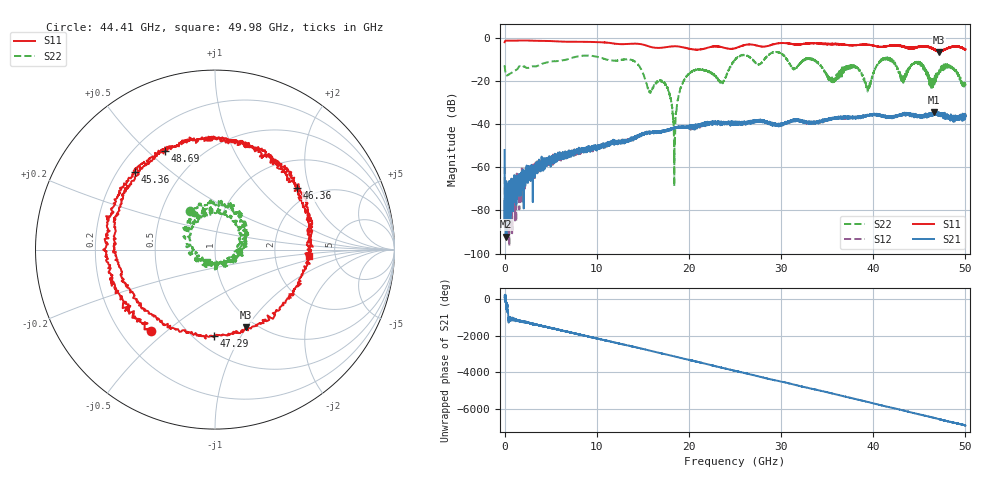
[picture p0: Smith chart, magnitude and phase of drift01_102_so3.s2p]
!Created with skrf (http://scikit-rf.org).
# Hz S RI R 50.0
!freq ReS11 ImS11 ReS21 ImS21 ReS12 ImS12 ReS22 ImS22
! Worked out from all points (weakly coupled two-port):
!   10001 points, 300 kHz to 50 GHz, reference 50 ohm
!   highest |S21| = -34.49 dB at 46.59 GHz (marker M1); lowest = -92.1 dB at 120.3 MHz (marker M2)
!   lowest |S11| = -6.6 dB at 47.15 GHz (marker M3), VSWR 2.75, Z = 44.9 - j49.7 ohm
!   |S11| at or under -10 dB: nowhere
!   |S22| runs from -68.8 to -6.6 dB; largest |S21 - S12| = 0.0044
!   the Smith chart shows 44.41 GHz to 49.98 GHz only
!   S11 on the Smith chart (normalised r, x): 44.41 GHz: 0.33, -0.44; 45.36 GHz: 0.27, +0.38; 46.36 GHz: 1.63, +1.65; 47.29 GHz: 0.62, -0.77; 48.69 GHz: 0.32, +0.57; 49.98 GHz: 3.15, -0.33
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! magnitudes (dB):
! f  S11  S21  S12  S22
! 300 kHz  -2.2  -52.0  -59.8  -12.8
! 120.3 MHz  -1.5  -92.1  -75.6  -17.0
! 8.335 GHz  -1.9  -52.8  -52.8  -8.5
! 16.67 GHz  -4.8  -43.9  -43.4  -20.0
! 17.74 GHz  -4.3  -42.6  -42.6  -23.9
! 18.44 GHz  -4.1  -41.6  -41.8  -50.0
! 19.91 GHz  -5.1  -41.6  -41.4  -17.2
! 23.6 GHz  -4.5  -40.0  -39.7  -20.6
! 25 GHz  -5.0  -39.9  -40.2  -10.4
! 33.34 GHz  -2.6  -39.3  -39.5  -9.8
! 39.46 GHz  -3.3  -35.8  -36.2  -23.2
! 41.67 GHz  -3.8  -36.9  -36.8  -10.3
! 43.19 GHz  -4.2  -35.4  -35.7  -18.7
! 44.41 GHz  -4.8  -35.5  -36.4  -11.8
! 45.36 GHz  -4.1  -37.1  -36.3  -12.8
! 46.36 GHz  -4.9  -35.7  -35.6  -21.2
! 46.59 GHz  -5.6  -34.5  -35.9  -21.8
! 47.15 GHz  -6.6  -35.5  -35.4  -15.5
! 47.29 GHz  -6.3  -35.5  -35.3  -15.7
! 48.69 GHz  -4.2  -37.2  -36.7  -14.1
! 49.98 GHz  -5.6  -35.7  -36.4  -21.4
! 50 GHz  -5.4  -36.4  -36.6  -21.6
